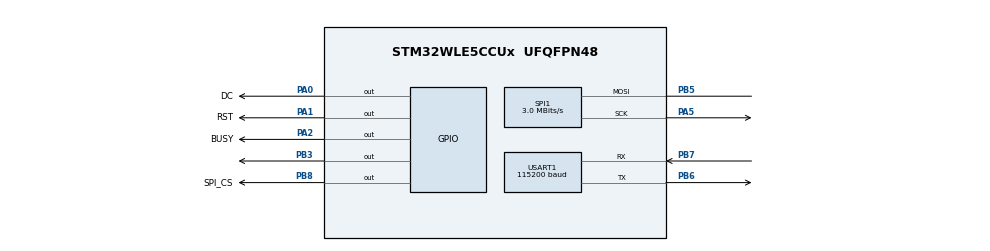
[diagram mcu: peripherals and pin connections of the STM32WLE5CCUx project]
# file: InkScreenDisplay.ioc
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Dma.Request0=USART1_RX
Dma.Request1=USART1_TX
Dma.USART1_RX.0.Direction=DMA_PERIPH_TO_MEMORY
Dma.USART1_RX.0.EventEnable=DISABLE
Dma.USART1_RX.0.Instance=DMA1_Channel1
Dma.USART1_RX.0.MemDataAlignment=DMA_MDATAALIGN_BYTE
Dma.USART1_RX.0.MemInc=DMA_MINC_ENABLE
Dma.USART1_RX.0.Mode=DMA_NORMAL
Dma.USART1_RX.0.PeriphDataAlignment=DMA_PDATAALIGN_BYTE
Dma.USART1_RX.0.PeriphInc=DMA_PINC_DISABLE
Dma.USART1_RX.0.Polarity=HAL_DMAMUX_REQ_GEN_RISING
Dma.USART1_RX.0.Priority=DMA_PRIORITY_HIGH
Dma.USART1_RX.0.RequestNumber=1
Dma.USART1_RX.0.SignalID=NONE
Dma.USART1_RX.0.SyncEnable=DISABLE
Dma.USART1_RX.0.SyncPolarity=HAL_DMAMUX_SYNC_NO_EVENT
Dma.USART1_RX.0.SyncRequestNumber=1
Dma.USART1_RX.0.SyncSignalID=NONE
Dma.USART1_TX.1.Direction=DMA_MEMORY_TO_PERIPH
Dma.USART1_TX.1.EventEnable=DISABLE
Dma.USART1_TX.1.Instance=DMA1_Channel2
Dma.USART1_TX.1.MemDataAlignment=DMA_MDATAALIGN_BYTE
Dma.USART1_TX.1.MemInc=DMA_MINC_ENABLE
Dma.USART1_TX.1.Mode=DMA_NORMAL
Dma.USART1_TX.1.PeriphDataAlignment=DMA_PDATAALIGN_BYTE
Dma.USART1_TX.1.PeriphInc=DMA_PINC_DISABLE
Dma.USART1_TX.1.Polarity=HAL_DMAMUX_REQ_GEN_RISING
Dma.USART1_TX.1.Priority=DMA_PRIORITY_LOW
Dma.USART1_TX.1.RequestNumber=1
Dma.USART1_TX.1.SignalID=NONE
Dma.USART1_TX.1.SyncEnable=DISABLE
Dma.USART1_TX.1.SyncPolarity=HAL_DMAMUX_SYNC_NO_EVENT
Dma.USART1_TX.1.SyncRequestNumber=1
Dma.USART1_TX.1.SyncSignalID=NONE
Mcu.Family=STM32WL
Mcu.Name=STM32WLE5CCUx
Mcu.Package=UFQFPN48
NVIC.DMA1_Channel1_IRQn=true\:0\:0\:false\:false\:true\:false\:true\:true
NVIC.DMA1_Channel2_IRQn=true\:0\:0\:false\:false\:true\:false\:true\:true
NVIC.PriorityGroup=NVIC_PRIORITYGROUP_4
NVIC.USART1_IRQn=true\:0\:0\:false\:false\:true\:true\:true\:true
PA0.GPIO_Label=DC
PA0.Signal=GPIO_Output
PA1.GPIO_Label=RST
PA1.Signal=GPIO_Output
PA13.Mode=Serial_Wire
PA13.Signal=DEBUG_JTMS-SWDIO
PA14.Mode=Serial_Wire
PA14.Signal=DEBUG_JTCK-SWCLK
PA2.GPIO_Label=BUSY
PA2.Signal=GPIO_Output
PA5.Mode=Simplex_Bidirectional_Master
PA5.Signal=SPI1_SCK
PB3.Signal=GPIO_Output
PB5.Mode=Simplex_Bidirectional_Master
PB5.Signal=SPI1_MOSI
PB6.Mode=Asynchronous
PB6.Signal=USART1_TX
PB7.Mode=Asynchronous
PB7.Signal=USART1_RX
PB8.GPIO_Label=SPI_CS
PB8.Signal=GPIO_Output
ProjectManager.HeapSize=0x200
ProjectManager.StackSize=0x400
ProjectManager.TargetToolchain=MDK-ARM V5.37
RCC.AHBFreq_Value=48000000
RCC.APB1Freq_Value=48000000
RCC.APB1TimFreq_Value=48000000
RCC.APB2Freq_Value=48000000
RCC.APB2TimFreq_Value=48000000
RCC.APB3Freq_Value=48000000
RCC.CortexFreq_Value=48000000
RCC.HCLKFreq_Value=48000000
RCC.HSE_VALUE=16000000
RCC.HSI_VALUE=16000000
RCC.LSE_VALUE=32768
RCC.LSIDIV=RCC_LSI_DIV128
RCC.MSIClockRange=RCC_MSIRANGE_0
RCC.PLLN=6
RCC.PLLSourceVirtual=RCC_PLLSOURCE_HSI
RCC.SYSCLKFreq_VALUE=48000000
RCC.SYSCLKSource=RCC_SYSCLKSOURCE_PLLCLK
RCC.USART1CLockSelection=RCC_USART1CLKSOURCE_SYSCLK
RCC.VCOOutputFreq_Value=96000000
SPI1.BaudRatePrescaler=SPI_BAUDRATEPRESCALER_16
SPI1.CalculateBaudRate=3.0 MBits/s
SPI1.DataSize=SPI_DATASIZE_8BIT
SPI1.Direction=SPI_DIRECTION_1LINE
SPI1.Mode=SPI_MODE_MASTER
SPI1.VirtualType=VM_MASTER
USART1.BaudRate=115200
USART1.VirtualMode-Asynchronous=VM_ASYNC
board=custom

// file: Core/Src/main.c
/* USER CODE BEGIN Header */
/**
 ******************************************************************************
 * @file           : main.c
 * @brief          : Main program body
 ******************************************************************************
 * @attention
 *
 * Copyright (c) 2024 STMicroelectronics.
 * All rights reserved.
 *
 * This software is licensed under terms that can be found in the LICENSE file
 * in the root directory of this software component.
 * If no LICENSE file comes with this software, it is provided AS-IS.
 *
 ******************************************************************************
 */
/* USER CODE END Header */
#include "main.h"
#include "dma.h"
#include "gpio.h"
#include "spi.h"
#include "usart.h"

/* USER CODE BEGIN Includes */
#include "MyEPD.h"
#include <string.h>

/* USER CODE END Includes */

/* USER CODE BEGIN PV */
#define COLORED 0
#define UNCOLORED 1
/* USER CODE END PV */

void SystemClock_Config( void );
/* USER CODE BEGIN PFP */
int fputc( int ch, FILE* f ) {
    HAL_UART_Transmit( &huart1, ( uint8_t* )&ch, 1, 0xffff );
    return ch;
}

int fgetc( FILE* f ) {
    uint8_t ch = 0;
    HAL_UART_Receive( &huart1, &ch, 1, 0xffff );
    return ch;
}
/* USER CODE END PFP */

int main( void ) {
    /* USER CODE BEGIN 1 */
    /* you have to edit the startup_stm32fxxx.s file and set a big enough heap size */
    unsigned char* frame_buffer  = ( unsigned char* )malloc( EPD_WIDTH * EPD_HEIGHT / 8 );
    char           time_string[] = { '0', '0', ':', '0', '0', '\0' };
    unsigned long  time_start_ms;
    unsigned long  time_now_s;
    /* USER CODE END 1 */

    /* MCU Configuration--------------------------------------------------------*/

    /* Reset of all peripherals, Initializes the Flash interface and the Systick. */
    HAL_Init();

    /* Configure the system clock */
    SystemClock_Config();

    /* Initialize all configured peripherals */
    MX_GPIO_Init();
    MX_DMA_Init();
    MX_USART1_UART_Init();
    MX_SPI1_Init();
    /* USER CODE BEGIN 2 */
    EPD epd;
    // Init the e-Paper
    if ( EPD_Init( &epd, lut_full_update ) != 0 ) {
        printf( "e-Paper init failed\n" );
        return -1;
    }
    // Create a new image cache
    Paint paint;
    Paint_Init( &paint, frame_buffer, epd.width, epd.height );
    Paint_Clear( &paint, UNCOLORED );
    /* For simplicity, the arguments are explicit numerical coordinates */
    /* Write strings to the buffer */
    Paint_DrawFilledRectangle( &paint, 0, 10, 128, 34, COLORED );
    Paint_DrawStringAt( &paint, 0, 14, "Hello world!", &Font16, UNCOLORED );
    Paint_DrawStringAt( &paint, 0, 34, "e-Paper Demo", &Font16, COLORED );

    /* Draw something to the frame buffer */
    Paint_DrawRectangle( &paint, 16, 60, 56, 110, COLORED );
    Paint_DrawLine( &paint, 16, 60, 56, 110, COLORED );
    Paint_DrawLine( &paint, 56, 60, 16, 110, COLORED );
    Paint_DrawCircle( &paint, 120, 90, 30, COLORED );
    Paint_DrawFilledRectangle( &paint, 16, 130, 56, 180, COLORED );
    Paint_DrawFilledCircle( &paint, 120, 160, 30, COLORED );

    /* Display the frame_buffer */
    EPD_SetFrameMemory( &epd, frame_buffer, 0, 0, Paint_GetWidth( &paint ), Paint_GetHeight( &paint ) );
    EPD_DisplayFrame( &epd );
    EPD_DelayMs( &epd, 2000 );

    /**
     *  there are 2 memory areas embedded in the e-paper display
     *  and once the display is refreshed, the memory area will be auto-toggled,
     *  i.e. the next action of SetFrameMemory will set the other memory area
     *  therefore you have to set the frame memory and refresh the display twice.
     */
    EPD_ClearFrameMemory( &epd, 0xFF );
    EPD_DisplayFrame( &epd );
    EPD_ClearFrameMemory( &epd, 0xFF );
    EPD_DisplayFrame( &epd );

    /* EPD_or partial update */
    if ( EPD_Init( &epd, lut_partial_update ) != 0 ) {
        printf( "e-Paper init failed\n" );
        return -1;
    }

    /**
     *  there are 2 memory areas embedded in the e-paper display
     *  and once the display is refreshed, the memory area will be auto-toggled,
     *  i.e. the next action of SetFrameMemory will set the other memory area
     *  therefore you have to set the frame memory and refresh the display twice.
     */
    EPD_SetFrameMemory( &epd, IMAGE_DATA, 0, 0, epd.width, epd.height );
    EPD_DisplayFrame( &epd );
    EPD_SetFrameMemory( &epd, IMAGE_DATA, 0, 0, epd.width, epd.height );
    EPD_DisplayFrame( &epd );

    time_start_ms = HAL_GetTick();
    /* USER CODE END 2 */

    /* Infinite loop */
    while ( 1 ) {

        /* USER CODE BEGIN 3 */
        time_now_s       = ( HAL_GetTick() - time_start_ms ) / 1000;
        time_string[ 0 ] = time_now_s / 60 / 10 + '0';
        time_string[ 1 ] = time_now_s / 60 % 10 + '0';
        time_string[ 3 ] = time_now_s % 60 / 10 + '0';
        time_string[ 4 ] = time_now_s % 60 % 10 + '0';

        Paint_SetWidth( &paint, 32 );
        Paint_SetHeight( &paint, 96 );
        Paint_SetRotate( &paint, ROTATE_90 );

        Paint_Clear( &paint, UNCOLORED );
        Paint_DrawStringAt( &paint, 0, 4, time_string, &Font24, COLORED );
        EPD_SetFrameMemory( &epd, frame_buffer, 80, 72, Paint_GetWidth( &paint ), Paint_GetHeight( &paint ) );
        EPD_DisplayFrame( &epd );

        EPD_DelayMs( &epd, 500 );
    }
    /* USER CODE END 3 */
}

void SystemClock_Config( void ) {
    RCC_OscInitTypeDef RCC_OscInitStruct = { 0 };
    RCC_ClkInitTypeDef RCC_ClkInitStruct = { 0 };

    /** Configure the main internal regulator output voltage
     */
    __HAL_PWR_VOLTAGESCALING_CONFIG( PWR_REGULATOR_VOLTAGE_SCALE1 );

    /** Initializes the CPU, AHB and APB buses clocks
     */
    RCC_OscInitStruct.OscillatorType      = RCC_OSCILLATORTYPE_HSI;
    RCC_OscInitStruct.HSIState            = RCC_HSI_ON;
    RCC_OscInitStruct.HSICalibrationValue = RCC_HSICALIBRATION_DEFAULT;
    RCC_OscInitStruct.PLL.PLLState        = RCC_PLL_ON;
    RCC_OscInitStruct.PLL.PLLSource       = RCC_PLLSOURCE_HSI;
    RCC_OscInitStruct.PLL.PLLM            = RCC_PLLM_DIV1;
    RCC_OscInitStruct.PLL.PLLN            = 6;
    RCC_OscInitStruct.PLL.PLLP            = RCC_PLLP_DIV2;
    RCC_OscInitStruct.PLL.PLLR            = RCC_PLLR_DIV2;
    RCC_OscInitStruct.PLL.PLLQ            = RCC_PLLQ_DIV2;
    if ( HAL_RCC_OscConfig( &RCC_OscInitStruct ) != HAL_OK ) {
        Error_Handler();
    }

    /** Configure the SYSCLKSource, HCLK, PCLK1 and PCLK2 clocks dividers
     */
    RCC_ClkInitStruct.ClockType      = RCC_CLOCKTYPE_HCLK3 | RCC_CLOCKTYPE_HCLK | RCC_CLOCKTYPE_SYSCLK | RCC_CLOCKTYPE_PCLK1 | RCC_CLOCKTYPE_PCLK2;
    RCC_ClkInitStruct.SYSCLKSource   = RCC_SYSCLKSOURCE_PLLCLK;
    RCC_ClkInitStruct.AHBCLKDivider  = RCC_SYSCLK_DIV1;
    RCC_ClkInitStruct.APB1CLKDivider = RCC_HCLK_DIV1;
    RCC_ClkInitStruct.APB2CLKDivider = RCC_HCLK_DIV1;
    RCC_ClkInitStruct.AHBCLK3Divider = RCC_SYSCLK_DIV1;

    if ( HAL_RCC_ClockConfig( &RCC_ClkInitStruct, FLASH_LATENCY_2 ) != HAL_OK ) {
        Error_Handler();
    }
}

void Error_Handler( void ) {
    __disable_irq();
    while ( 1 ) {
    }
}
